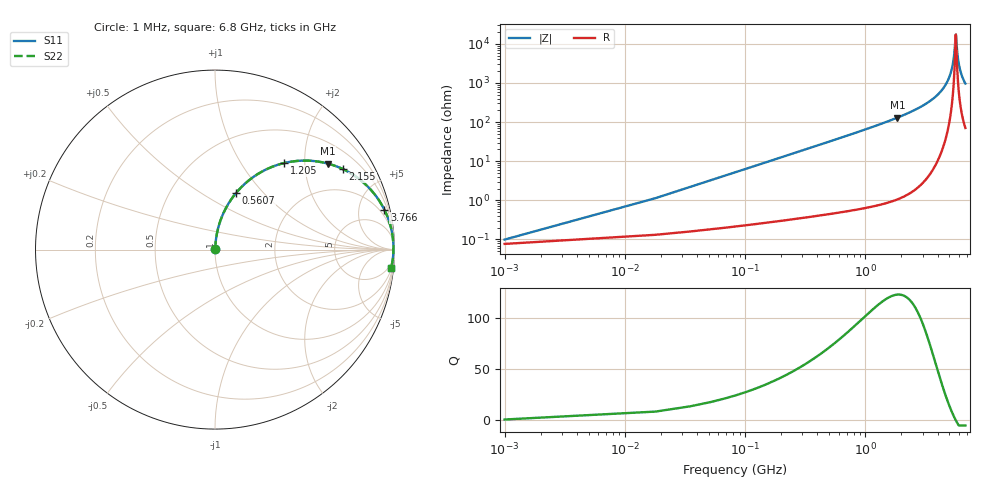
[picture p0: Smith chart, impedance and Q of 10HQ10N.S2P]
! Coilcraft 1008HQ-10N Chip Inductor
! 10 July 2002
# MHZ S MA R 50
!Freq  MagS11  AngS11  MagS21  AngS21  MagS12  AngS12  MagS22  AngS22
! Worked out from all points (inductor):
!   402 points, 1 MHz to 6.8 GHz, reference 50 ohm
!   read as one part in series: L = 10 nH near 34.92 MHz
!   highest Q = 123 at 1.85 GHz (marker M1), where L = 11.2 nH
!   self-resonance near 5.649 GHz
!   S11 on the Smith chart (normalised r, x): 1 MHz: 1.00, +0.00; 560.7 MHz: 1.01, +0.71; 1.205 GHz: 1.01, +1.59; 2.155 GHz: 1.03, +3.17; 3.766 GHz: 1.14, +8.48; 6.8 GHz: 2, -19
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1  0.0009923 39.2  0.9992 -0.0  0.9992 -0.0  0.0009923 39.2
51.88  0.03257 84.9  0.9977 -1.9  0.9977 -1.9  0.03257 84.9
119.72  0.0749 83.8  0.9948 -4.3  0.9948 -4.3  0.0749 83.8
289.32  0.1787 78.6  0.9805 -10.3  0.9805 -10.3  0.1787 78.6
560.68  0.3338 69.7  0.9382 -19.5  0.9382 -19.5  0.3338 69.7
1137.32  0.5946 53.0  0.7985 -36.5  0.7985 -36.5  0.5946 53.0
1205.16  0.6187 51.3  0.78 -38.2  0.78 -38.2  0.6187 51.3
1849.64  0.7898 37.4  0.607 -52.2  0.607 -52.2  0.7898 37.4
2154.92  0.8424 32.1  0.532 -57.4  0.532 -57.4  0.8424 32.1
2273.64  0.8592 30.3  0.5045 -59.2  0.5045 -59.2  0.8592 30.3
3409.96  0.955 16.5  0.2841 -72.7  0.2841 -72.7  0.955 16.5
3766.12  0.9697 13.2  0.2286 -75.8  0.2286 -75.8  0.9697 13.2
4546.28  0.988 7.1  0.123 -80.9  0.123 -80.9  0.988 7.1
4970.28  0.9925 4.2  0.07316 -82.0  0.07316 -82.0  0.9925 4.2
5275.56  0.994 2.3  0.03998 -80.3  0.03998 -80.3  0.994 2.3
5445.16  0.9943 1.3  0.02261 -74.9  0.02261 -74.9  0.9943 1.3
5631.72  0.9943 0.2  0.006469 -28.6  0.006469 -28.6  0.9943 0.2
5682.6  0.9943 -0.1  0.006047 18.3  0.006047 18.3  0.9943 -0.1
5852.2  0.9939 -1.1  0.01928 70.9  0.01928 70.9  0.9939 -1.1
6038.76  0.9931 -2.1  0.03639 78.0  0.03639 78.0  0.9931 -2.1
6361  0.9911 -3.7  0.0652 80.3  0.0652 80.3  0.9911 -3.7
6800  0.9873 -5.9  0.1023 79.9  0.1023 79.9  0.9873 -5.9
